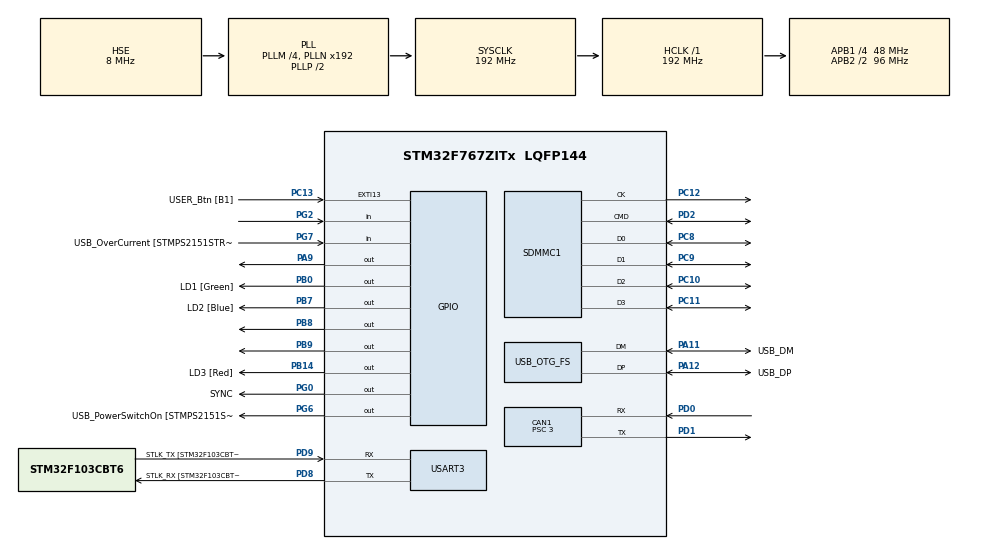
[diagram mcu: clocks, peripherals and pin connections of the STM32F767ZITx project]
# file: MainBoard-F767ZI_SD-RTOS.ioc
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CAN1.BS1=CAN_BS1_13TQ
CAN1.BS2=CAN_BS2_2TQ
CAN1.CalculateTimeQuantum=62.5
CAN1.Prescaler=3
CAN1.RFLM=ENABLE
CAN1.TTCM=DISABLE
Dma.Request0=SDMMC1_TX
Dma.Request1=SDMMC1_RX
Dma.SDMMC1_RX.1.Direction=DMA_PERIPH_TO_MEMORY
Dma.SDMMC1_RX.1.FIFOMode=DMA_FIFOMODE_ENABLE
Dma.SDMMC1_RX.1.FIFOThreshold=DMA_FIFO_THRESHOLD_FULL
Dma.SDMMC1_RX.1.Instance=DMA2_Stream6
Dma.SDMMC1_RX.1.MemBurst=DMA_MBURST_INC4
Dma.SDMMC1_RX.1.MemDataAlignment=DMA_MDATAALIGN_WORD
Dma.SDMMC1_RX.1.MemInc=DMA_MINC_ENABLE
Dma.SDMMC1_RX.1.Mode=DMA_PFCTRL
Dma.SDMMC1_RX.1.PeriphBurst=DMA_PBURST_INC4
Dma.SDMMC1_RX.1.PeriphDataAlignment=DMA_PDATAALIGN_WORD
Dma.SDMMC1_RX.1.PeriphInc=DMA_PINC_DISABLE
Dma.SDMMC1_RX.1.Priority=DMA_PRIORITY_LOW
Dma.SDMMC1_TX.0.Direction=DMA_MEMORY_TO_PERIPH
Dma.SDMMC1_TX.0.FIFOMode=DMA_FIFOMODE_ENABLE
Dma.SDMMC1_TX.0.FIFOThreshold=DMA_FIFO_THRESHOLD_FULL
Dma.SDMMC1_TX.0.Instance=DMA2_Stream3
Dma.SDMMC1_TX.0.MemBurst=DMA_MBURST_INC4
Dma.SDMMC1_TX.0.MemDataAlignment=DMA_MDATAALIGN_WORD
Dma.SDMMC1_TX.0.MemInc=DMA_MINC_ENABLE
Dma.SDMMC1_TX.0.Mode=DMA_PFCTRL
Dma.SDMMC1_TX.0.PeriphBurst=DMA_PBURST_INC4
Dma.SDMMC1_TX.0.PeriphDataAlignment=DMA_PDATAALIGN_WORD
Dma.SDMMC1_TX.0.PeriphInc=DMA_PINC_DISABLE
Dma.SDMMC1_TX.0.Priority=DMA_PRIORITY_LOW
FATFS.BSP.number=1
FATFS._FS_EXFAT=1
FATFS._FS_LOCK=10
FATFS._FS_NORTC=0
FATFS._MAX_SS=4096
FATFS._USE_LFN=3
FATFS0.BSP.STBoard=false
FATFS0.BSP.api=Unknown
FATFS0.BSP.i2caddr=0
FATFS0.BSP.instance=PG2
FATFS0.BSP.ip=GPIO
FATFS0.BSP.mode=Input
FATFS0.BSP.name=Detect_SDIO
FATFS0.BSP.solution=PG2
FREERTOS.Tasks01=defaultTask,24,256,StartDefaultTask,Default,NULL,Dynamic,NULL,NULL
Mcu.Family=STM32F7
Mcu.Name=STM32F767ZITx
Mcu.Package=LQFP144
NVIC.CAN1_RX0_IRQn=true\:6\:0\:true\:true\:true\:1\:true\:true\:true
NVIC.DMA2_Stream3_IRQn=true\:7\:0\:true\:false\:true\:true\:false\:true
NVIC.DMA2_Stream6_IRQn=true\:11\:0\:true\:false\:true\:true\:false\:true
NVIC.OTG_FS_IRQn=true\:9\:0\:true\:false\:true\:true\:true\:true
NVIC.PriorityGroup=NVIC_PRIORITYGROUP_4
NVIC.SDMMC1_IRQn=true\:8\:0\:true\:false\:true\:true\:true\:true
NVIC.TIM6_DAC_IRQn=true\:0\:0\:false\:false\:true\:false\:false\:true
NVIC.TIM8_TRG_COM_TIM14_IRQn=true\:5\:0\:false\:false\:true\:true\:true\:true
NVIC.TimeBase=TIM6_DAC_IRQn
NVIC.TimeBaseIP=TIM6
PA1.GPIO_Label=RMII_REF_CLK [LAN8742A-CZ-TR_REFCLK0]
PA1.Signal=ETH_REF_CLK
PA11.GPIO_Label=USB_DM
PA11.Mode=Device_Only
PA11.Signal=USB_OTG_FS_DM
PA12.GPIO_Label=USB_DP
PA12.Mode=Device_Only
PA12.Signal=USB_OTG_FS_DP
PA13.GPIO_Label=TMS
PA13.Mode=Serial_Wire
PA13.Signal=SYS_JTMS-SWDIO
PA14.GPIO_Label=TCK
PA14.Mode=Serial_Wire
PA14.Signal=SYS_JTCK-SWCLK
PA2.GPIO_Label=RMII_MDIO [LAN8742A-CZ-TR_MDIO]
PA2.Signal=ETH_MDIO
PA7.GPIO_Label=RMII_CRS_DV [LAN8742A-CZ-TR_CRS_DV]
PA7.Signal=ETH_CRS_DV
PA9.GPIO_ModeDefaultOutputPP=GPIO_MODE_OUTPUT_PP
PA9.GPIO_PuPd=GPIO_PULLDOWN
PA9.Signal=GPIO_Output
PB0.GPIO_Label=LD1 [Green]
PB0.Signal=GPIO_Output
PB13.GPIO_Label=RMII_TXD1 [LAN8742A-CZ-TR_TXD1]
PB13.Signal=ETH_TXD1
PB14.GPIO_Label=LD3 [Red]
PB14.Signal=GPIO_Output
PB3.GPIO_Label=SWO
PB3.Signal=SYS_JTDO-SWO
PB7.GPIO_Label=LD2 [Blue]
PB7.Signal=GPIO_Output
PB8.Signal=GPIO_Output
PB9.Signal=GPIO_Output
PC1.GPIO_Label=RMII_MDC [LAN8742A-CZ-TR_MDC]
PC1.Signal=ETH_MDC
PC10.Mode=SD_4_bits_Wide_bus
PC10.Signal=SDMMC1_D2
PC11.Mode=SD_4_bits_Wide_bus
PC11.Signal=SDMMC1_D3
PC12.Mode=SD_4_bits_Wide_bus
PC12.Signal=SDMMC1_CK
PC13.GPIO_Label=USER_Btn [B1]
PC13.Signal=GPXTI13
PC14/OSC32_IN.Mode=LSE-External-Oscillator
PC14/OSC32_IN.Signal=RCC_OSC32_IN
PC15/OSC32_OUT.Mode=LSE-External-Oscillator
PC15/OSC32_OUT.Signal=RCC_OSC32_OUT
PC4.GPIO_Label=RMII_RXD0 [LAN8742A-CZ-TR_RXD0]
PC4.Signal=ETH_RXD0
PC5.GPIO_Label=RMII_RXD1 [LAN8742A-CZ-TR_RXD1]
PC5.Signal=ETH_RXD1
PC8.GPIO_PuPd=GPIO_NOPULL
PC8.Mode=SD_4_bits_Wide_bus
PC8.Signal=SDMMC1_D0
PC9.Mode=SD_4_bits_Wide_bus
PC9.Signal=SDMMC1_D1
PD0.Mode=Master
PD0.Signal=CAN1_RX
PD1.Mode=Master
PD1.Signal=CAN1_TX
PD2.GPIO_PuPd=GPIO_NOPULL
PD2.Mode=SD_4_bits_Wide_bus
PD2.Signal=SDMMC1_CMD
PD8.GPIO_Label=STLK_RX [STM32F103CBT6_PA3]
PD8.Mode=Asynchronous
PD8.Signal=USART3_TX
PD9.GPIO_Label=STLK_TX [STM32F103CBT6_PA2]
PD9.Mode=Asynchronous
PD9.Signal=USART3_RX
PG0.GPIO_Label=SYNC
PG0.Signal=GPIO_Output
PG11.GPIO_Label=RMII_TX_EN [LAN8742A-CZ-TR_TXEN]
PG11.Signal=ETH_TX_EN
PG13.GPIO_Label=RMII_TXD0 [LAN8742A-CZ-TR_TXD0]
PG13.Signal=ETH_TXD0
PG2.GPIO_PuPd=GPIO_PULLDOWN
PG2.Signal=GPIO_Input
PG6.GPIO_Label=USB_PowerSwitchOn [STMPS2151STR_EN]
PG6.Signal=GPIO_Output
PG7.GPIO_Label=USB_OverCurrent [STMPS2151STR_FAULT]
PG7.Signal=GPIO_Input
PH0/OSC_IN.GPIO_Label=MCO [STM32F103CBT6_PA8]
PH0/OSC_IN.Mode=HSE-External-Clock-Source
PH0/OSC_IN.Signal=RCC_OSC_IN
PH1/OSC_OUT.Mode=HSE-External-Clock-Source
PH1/OSC_OUT.Signal=RCC_OSC_OUT
ProjectManager.HeapSize=0x2000
ProjectManager.StackSize=0x4000
ProjectManager.TargetToolchain=STM32CubeIDE
RCC.48MHZClocksFreq_Value=24000000
RCC.AHBFreq_Value=192000000
RCC.APB1CLKDivider=RCC_HCLK_DIV4
RCC.APB1Freq_Value=48000000
RCC.APB1TimFreq_Value=96000000
RCC.APB2CLKDivider=RCC_HCLK_DIV2
RCC.APB2Freq_Value=96000000
RCC.APB2TimFreq_Value=192000000
RCC.CortexFreq_Value=192000000
RCC.HCLKFreq_Value=192000000
RCC.HSE_VALUE=8000000
RCC.HSI_VALUE=16000000
RCC.PLLM=4
RCC.PLLMUL=RCC_PLL_MUL9
RCC.PLLQ=8
RCC.PRESCALERUSB=RCC_USBCLKSOURCE_PLL_DIV1_5
RCC.SDMMCClockSelection=RCC_SDMMC1CLKSOURCE_CLK48
RCC.SYSCLKFreq_VALUE=192000000
RCC.SYSCLKSource=RCC_SYSCLKSOURCE_PLLCLK
RCC.SYSCLKSourceVirtual=RCC_SYSCLKSOURCE_PLLCLK
RCC.USBFreq_Value=48000000
RCC.VCOOutputFreq_Value=384000000
SDMMC1.ClockBypass=SDMMC_CLOCK_BYPASS_DISABLE
SDMMC1.ClockDiv=4
TIM14.AutoReloadPreload=TIM_AUTORELOAD_PRELOAD_ENABLE
TIM14.Period=50
TIM14.Prescaler=19199
USART3.VirtualMode-Asynchronous=VM_ASYNC
USB_DEVICE.CLASS_NAME_FS=MSC
USB_DEVICE.VirtualMode-MSC_FS=Msc
USB_DEVICE.VirtualModeFS=Msc_FS
USB_OTG_FS.VirtualMode=Device_Only
VP_FATFS_VS_SDIO.Mode=SDIO
VP_FREERTOS_VS_CMSIS_V2.Mode=CMSIS_V2
VP_SYS_VS_tim6.Mode=TIM6
VP_TIM14_VS_ClockSourceINT.Mode=Enable_Timer
VP_USB_DEVICE_VS_USB_DEVICE_MSC_FS.Mode=MSC_FS
board=NUCLEO-F767ZI

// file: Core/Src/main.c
/* USER CODE BEGIN Header */
/**
  ******************************************************************************
  * @file           : main.c
  * @brief          : Main program body
  ******************************************************************************
  * @attention
  *
  * <h2><center>&copy; Copyright (c) 2020 STMicroelectronics.
  * All rights reserved.</center></h2>
  *
  * This software component is licensed by ST under BSD 3-Clause license,
  * the "License"; You may not use this file except in compliance with the
  * License. You may obtain a copy of the License at:
  *                        opensource.org/licenses/BSD-3-Clause
  *
  ******************************************************************************
  */
/* USER CODE END Header */

#include "main.h"
#include "cmsis_os.h"
#include "fatfs.h"
#include "usb_device.h"

/* USER CODE BEGIN PTD */

// Data organization 128bit
typedef struct{
	uint8_t		Header_H;
	uint8_t		Header_M;
	uint8_t		Header_L;
	uint8_t		AccX_H;
	uint8_t		AccX_L;
	uint8_t		AccY_H;
	uint8_t		AccY_L;
	uint8_t		AccZ_H;
	uint8_t		AccZ_L;
	uint8_t		GyrX_H;
	uint8_t		GyrX_L;
	uint8_t		GyrY_H;
	uint8_t		GyrY_L;
	uint8_t		Temp_H;
	uint8_t		Temp_L;
	uint8_t		Hum;
}buffer_typedef;
/* USER CODE END PTD */

/* USER CODE BEGIN PD */
#define	N 				32 // Number of 128bit data packet
/* USER CODE END PD */

/* USER CODE BEGIN PM */
struct{
	uint8_t		ID;
	uint8_t 	Time[3];
	uint8_t		Error;
	int16_t		Acc_x;
	int16_t 	Acc_y;
	int16_t 	Acc_z;
	int16_t 	Gyr_x;
	int16_t 	Gyr_y;
	int16_t 	Temp;
	uint32_t 	Pres;
	uint16_t 	Hum;
}Dati;
/* USER CODE END PM */

CAN_HandleTypeDef hcan1;

SD_HandleTypeDef hsd1;
DMA_HandleTypeDef hdma_sdmmc1_tx;
DMA_HandleTypeDef hdma_sdmmc1_rx;

TIM_HandleTypeDef htim14;

UART_HandleTypeDef huart3;

/* Definitions for defaultTask */
osThreadId_t defaultTaskHandle;
const osThreadAttr_t defaultTask_attributes = {
  .name = "defaultTask",
  .priority = (osPriority_t) osPriorityNormal,
  .stack_size = 256 * 4
};
/* USER CODE BEGIN PV */
// CAN Variables
CAN_RxHeaderTypeDef 	RxHeader;
CAN_TxHeaderTypeDef 	TxHeader;
uint8_t					RxData[8];
uint8_t 				TxData[8];
uint32_t				TxMailbox;
CAN_FilterTypeDef 		sFilterConfig;

// SD Card Variables
extern FIL 				SDFile;
extern char 			SDPath[4];
FATFS 					SDFatFs;
HAL_SD_CardInfoTypeDef 	CardInfo;
uint8_t 				workBuffer[_MAX_SS];
char 					path[] = "DATA_LOG.BIN";
FRESULT 				res;
UINT 					writeBuff;

//USB
extern USBD_HandleTypeDef hUsbDeviceFS;
//extern USBD_StorageTypeDef USBD_Storage_Interface_fops_FS;
extern USBD_ClassTypeDef  USBD_MSC;
extern USBD_DescriptorsTypeDef FS_Desc;
HAL_SD_CardInfoTypeDef SDCardInfo;
// Data Variables
buffer_typedef 			buffer[32];		// Received data buffer
buffer_typedef 			SD_buffer[32];	// Writing buffer
uint8_t 				ind = 0;		// Data index
uint8_t 				flag = 0;
uint8_t					wf = 0;			// Write flag
/* USER CODE END PV */

void SystemClock_Config(void);
static void MX_GPIO_Init(void);
static void MX_DMA_Init(void);
static void MX_USART3_UART_Init(void);
static void MX_CAN1_Init(void);
static void MX_SDMMC1_SD_Init(void);
static void MX_TIM14_Init(void);
void StartDefaultTask(void *argument);

static void MX_NVIC_Init(void);
/* USER CODE BEGIN PFP */
void CAN_Config(void);
void Get_Data(void);
/* USER CODE END PFP */

int main(void)
{

  /* MCU Configuration--------------------------------------------------------*/

  /* Reset of all peripherals, Initializes the Flash interface and the Systick. */
  HAL_Init();

  /* Configure the system clock */
  SystemClock_Config();

  /* Initialize all configured peripherals */
  MX_GPIO_Init();
  MX_DMA_Init();
  MX_USART3_UART_Init();
  MX_CAN1_Init();
  MX_SDMMC1_SD_Init();
  MX_FATFS_Init();
  MX_TIM14_Init();

  /* Initialize interrupts */
  MX_NVIC_Init();
  /* USER CODE BEGIN 2 */
  //NVIC_DisableIRQ(OTG_FS_IRQn);
  //USBD_Stop(&hUsbDeviceFS);
  // SD Card Initialization
  /*res = f_mount(&SDFatFs, SDPath, 1);
  res = f_open(&SDFile, &path[0], FA_CREATE_ALWAYS);
  res = f_close(&SDFile);
  res = f_open(&SDFile, &path[0], FA_OPEN_APPEND | FA_WRITE);*/
  //USB start
  //MX_USB_DEVICE_Init();
  // CAN Initialization
  CAN_Config();
  HAL_CAN_Start(&hcan1);
  //HAL_CAN_ActivateNotification(&hcan1, CAN_IT_RX_FIFO0_MSG_PENDING);

  // TIMER Initialization
  //HAL_TIM_Base_Start_IT(&htim13);
  HAL_TIM_Base_Start_IT(&htim14);
  /* USER CODE END 2 */

  /* Init scheduler */
  osKernelInitialize();

  /* Create the thread(s) */
  /* creation of defaultTask */
  defaultTaskHandle = osThreadNew(StartDefaultTask, NULL, &defaultTask_attributes);

  /* Start scheduler */
  osKernelStart();

  /* We should never get here as control is now taken by the scheduler */
  /* Infinite loop */
  while (1)
  {

  }
}

void SystemClock_Config(void)
{
  RCC_OscInitTypeDef RCC_OscInitStruct = {0};
  RCC_ClkInitTypeDef RCC_ClkInitStruct = {0};
  RCC_PeriphCLKInitTypeDef PeriphClkInitStruct = {0};

  /** Configure LSE Drive Capability
  */
  HAL_PWR_EnableBkUpAccess();
  /** Configure the main internal regulator output voltage
  */
  __HAL_RCC_PWR_CLK_ENABLE();
  __HAL_PWR_VOLTAGESCALING_CONFIG(PWR_REGULATOR_VOLTAGE_SCALE1);
  /** Initializes the CPU, AHB and APB busses clocks
  */
  RCC_OscInitStruct.OscillatorType = RCC_OSCILLATORTYPE_HSE;
  RCC_OscInitStruct.HSEState = RCC_HSE_BYPASS;
  RCC_OscInitStruct.PLL.PLLState = RCC_PLL_ON;
  RCC_OscInitStruct.PLL.PLLSource = RCC_PLLSOURCE_HSE;
  RCC_OscInitStruct.PLL.PLLM = 4;
  RCC_OscInitStruct.PLL.PLLN = 192;
  RCC_OscInitStruct.PLL.PLLP = RCC_PLLP_DIV2;
  RCC_OscInitStruct.PLL.PLLQ = 8;
  if (HAL_RCC_OscConfig(&RCC_OscInitStruct) != HAL_OK)
  {
    Error_Handler();
  }
  /** Activate the Over-Drive mode
  */
  if (HAL_PWREx_EnableOverDrive() != HAL_OK)
  {
    Error_Handler();
  }
  /** Initializes the CPU, AHB and APB busses clocks
  */
  RCC_ClkInitStruct.ClockType = RCC_CLOCKTYPE_HCLK|RCC_CLOCKTYPE_SYSCLK
                              |RCC_CLOCKTYPE_PCLK1|RCC_CLOCKTYPE_PCLK2;
  RCC_ClkInitStruct.SYSCLKSource = RCC_SYSCLKSOURCE_PLLCLK;
  RCC_ClkInitStruct.AHBCLKDivider = RCC_SYSCLK_DIV1;
  RCC_ClkInitStruct.APB1CLKDivider = RCC_HCLK_DIV4;
  RCC_ClkInitStruct.APB2CLKDivider = RCC_HCLK_DIV2;

  if (HAL_RCC_ClockConfig(&RCC_ClkInitStruct, FLASH_LATENCY_6) != HAL_OK)
  {
    Error_Handler();
  }
  PeriphClkInitStruct.PeriphClockSelection = RCC_PERIPHCLK_USART3|RCC_PERIPHCLK_SDMMC1
                              |RCC_PERIPHCLK_CLK48;
  PeriphClkInitStruct.Usart3ClockSelection = RCC_USART3CLKSOURCE_PCLK1;
  PeriphClkInitStruct.Clk48ClockSelection = RCC_CLK48SOURCE_PLL;
  PeriphClkInitStruct.Sdmmc1ClockSelection = RCC_SDMMC1CLKSOURCE_CLK48;
  if (HAL_RCCEx_PeriphCLKConfig(&PeriphClkInitStruct) != HAL_OK)
  {
    Error_Handler();
  }
}

/**
  * @brief NVIC Configuration.
  * @retval None
  */
static void MX_NVIC_Init(void)
{
  /* CAN1_RX0_IRQn interrupt configuration */
  HAL_NVIC_SetPriority(CAN1_RX0_IRQn, 6, 0);
  HAL_NVIC_EnableIRQ(CAN1_RX0_IRQn);
}

static void MX_CAN1_Init(void)
{

  hcan1.Instance = CAN1;
  hcan1.Init.Prescaler = 3;
  hcan1.Init.Mode = CAN_MODE_NORMAL;
  hcan1.Init.SyncJumpWidth = CAN_SJW_1TQ;
  hcan1.Init.TimeSeg1 = CAN_BS1_13TQ;
  hcan1.Init.TimeSeg2 = CAN_BS2_2TQ;
  hcan1.Init.TimeTriggeredMode = DISABLE;
  hcan1.Init.AutoBusOff = DISABLE;
  hcan1.Init.AutoWakeUp = DISABLE;
  hcan1.Init.AutoRetransmission = DISABLE;
  hcan1.Init.ReceiveFifoLocked = ENABLE;
  hcan1.Init.TransmitFifoPriority = DISABLE;
  if (HAL_CAN_Init(&hcan1) != HAL_OK)
  {
    Error_Handler();
  }

}

static void MX_SDMMC1_SD_Init(void)
{

  hsd1.Instance = SDMMC1;
  hsd1.Init.ClockEdge = SDMMC_CLOCK_EDGE_RISING;
  hsd1.Init.ClockBypass = SDMMC_CLOCK_BYPASS_DISABLE;
  hsd1.Init.ClockPowerSave = SDMMC_CLOCK_POWER_SAVE_DISABLE;
  hsd1.Init.BusWide = SDMMC_BUS_WIDE_1B;
  hsd1.Init.HardwareFlowControl = SDMMC_HARDWARE_FLOW_CONTROL_DISABLE;
  hsd1.Init.ClockDiv = 4;
  /* USER CODE BEGIN SDMMC1_Init 2 */
  // Is Redundant
  if (HAL_SD_Init(&hsd1) != HAL_OK)
  {
	  Error_Handler();
  }
  /* USER CODE END SDMMC1_Init 2 */

}

static void MX_TIM14_Init(void)
{

  htim14.Instance = TIM14;
  htim14.Init.Prescaler = 19199;
  htim14.Init.CounterMode = TIM_COUNTERMODE_UP;
  htim14.Init.Period = 50;
  htim14.Init.ClockDivision = TIM_CLOCKDIVISION_DIV1;
  htim14.Init.AutoReloadPreload = TIM_AUTORELOAD_PRELOAD_ENABLE;
  if (HAL_TIM_Base_Init(&htim14) != HAL_OK)
  {
    Error_Handler();
  }

}

static void MX_USART3_UART_Init(void)
{

  huart3.Instance = USART3;
  huart3.Init.BaudRate = 115200;
  huart3.Init.WordLength = UART_WORDLENGTH_8B;
  huart3.Init.StopBits = UART_STOPBITS_1;
  huart3.Init.Parity = UART_PARITY_NONE;
  huart3.Init.Mode = UART_MODE_TX_RX;
  huart3.Init.HwFlowCtl = UART_HWCONTROL_NONE;
  huart3.Init.OverSampling = UART_OVERSAMPLING_16;
  huart3.Init.OneBitSampling = UART_ONE_BIT_SAMPLE_DISABLE;
  huart3.AdvancedInit.AdvFeatureInit = UART_ADVFEATURE_NO_INIT;
  if (HAL_UART_Init(&huart3) != HAL_OK)
  {
    Error_Handler();
  }

}

static void MX_DMA_Init(void)
{

  /* DMA controller clock enable */
  __HAL_RCC_DMA2_CLK_ENABLE();

  /* DMA interrupt init */
  /* DMA2_Stream3_IRQn interrupt configuration */
  HAL_NVIC_SetPriority(DMA2_Stream3_IRQn, 7, 0);
  HAL_NVIC_EnableIRQ(DMA2_Stream3_IRQn);
  /* DMA2_Stream6_IRQn interrupt configuration */
  HAL_NVIC_SetPriority(DMA2_Stream6_IRQn, 11, 0);
  HAL_NVIC_EnableIRQ(DMA2_Stream6_IRQn);

}

static void MX_GPIO_Init(void)
{
  GPIO_InitTypeDef GPIO_InitStruct = {0};

  /* GPIO Ports Clock Enable */
  __HAL_RCC_GPIOC_CLK_ENABLE();
  __HAL_RCC_GPIOH_CLK_ENABLE();
  __HAL_RCC_GPIOA_CLK_ENABLE();
  __HAL_RCC_GPIOB_CLK_ENABLE();
  __HAL_RCC_GPIOG_CLK_ENABLE();
  __HAL_RCC_GPIOD_CLK_ENABLE();

  /*Configure GPIO pin Output Level */
  HAL_GPIO_WritePin(GPIOB, LD1_Pin|LD3_Pin|LD2_Pin|GPIO_PIN_8
                          |GPIO_PIN_9, GPIO_PIN_RESET);

  /*Configure GPIO pin Output Level */
  HAL_GPIO_WritePin(GPIOG, SYNC_Pin|USB_PowerSwitchOn_Pin, GPIO_PIN_RESET);

  /*Configure GPIO pin Output Level */
  HAL_GPIO_WritePin(GPIOA, GPIO_PIN_9, GPIO_PIN_RESET);

  /*Configure GPIO pin : USER_Btn_Pin */
  GPIO_InitStruct.Pin = USER_Btn_Pin;
  GPIO_InitStruct.Mode = GPIO_MODE_IT_RISING;
  GPIO_InitStruct.Pull = GPIO_NOPULL;
  HAL_GPIO_Init(USER_Btn_GPIO_Port, &GPIO_InitStruct);

  /*Configure GPIO pins : RMII_MDC_Pin RMII_RXD0_Pin RMII_RXD1_Pin */
  GPIO_InitStruct.Pin = RMII_MDC_Pin|RMII_RXD0_Pin|RMII_RXD1_Pin;
  GPIO_InitStruct.Mode = GPIO_MODE_AF_PP;
  GPIO_InitStruct.Pull = GPIO_NOPULL;
  GPIO_InitStruct.Speed = GPIO_SPEED_FREQ_VERY_HIGH;
  GPIO_InitStruct.Alternate = GPIO_AF11_ETH;
  HAL_GPIO_Init(GPIOC, &GPIO_InitStruct);

  /*Configure GPIO pins : RMII_REF_CLK_Pin RMII_MDIO_Pin RMII_CRS_DV_Pin */
  GPIO_InitStruct.Pin = RMII_REF_CLK_Pin|RMII_MDIO_Pin|RMII_CRS_DV_Pin;
  GPIO_InitStruct.Mode = GPIO_MODE_AF_PP;
  GPIO_InitStruct.Pull = GPIO_NOPULL;
  GPIO_InitStruct.Speed = GPIO_SPEED_FREQ_VERY_HIGH;
  GPIO_InitStruct.Alternate = GPIO_AF11_ETH;
  HAL_GPIO_Init(GPIOA, &GPIO_InitStruct);

  /*Configure GPIO pins : LD1_Pin LD3_Pin LD2_Pin PB8
                           PB9 */
  GPIO_InitStruct.Pin = LD1_Pin|LD3_Pin|LD2_Pin|GPIO_PIN_8
                          |GPIO_PIN_9;
  GPIO_InitStruct.Mode = GPIO_MODE_OUTPUT_PP;
  GPIO_InitStruct.Pull = GPIO_NOPULL;
  GPIO_InitStruct.Speed = GPIO_SPEED_FREQ_LOW;
  HAL_GPIO_Init(GPIOB, &GPIO_InitStruct);

  /*Configure GPIO pins : SYNC_Pin USB_PowerSwitchOn_Pin */
  GPIO_InitStruct.Pin = SYNC_Pin|USB_PowerSwitchOn_Pin;
  GPIO_InitStruct.Mode = GPIO_MODE_OUTPUT_PP;
  GPIO_InitStruct.Pull = GPIO_NOPULL;
  GPIO_InitStruct.Speed = GPIO_SPEED_FREQ_LOW;
  HAL_GPIO_Init(GPIOG, &GPIO_InitStruct);

  /*Configure GPIO pin : RMII_TXD1_Pin */
  GPIO_InitStruct.Pin = RMII_TXD1_Pin;
  GPIO_InitStruct.Mode = GPIO_MODE_AF_PP;
  GPIO_InitStruct.Pull = GPIO_NOPULL;
  GPIO_InitStruct.Speed = GPIO_SPEED_FREQ_VERY_HIGH;
  GPIO_InitStruct.Alternate = GPIO_AF11_ETH;
  HAL_GPIO_Init(RMII_TXD1_GPIO_Port, &GPIO_InitStruct);

  /*Configure GPIO pin : PG2 */
  GPIO_InitStruct.Pin = GPIO_PIN_2;
  GPIO_InitStruct.Mode = GPIO_MODE_INPUT;
  GPIO_InitStruct.Pull = GPIO_PULLDOWN;
  HAL_GPIO_Init(GPIOG, &GPIO_InitStruct);

  /*Configure GPIO pin : USB_OverCurrent_Pin */
  GPIO_InitStruct.Pin = USB_OverCurrent_Pin;
  GPIO_InitStruct.Mode = GPIO_MODE_INPUT;
  GPIO_InitStruct.Pull = GPIO_NOPULL;
  HAL_GPIO_Init(USB_OverCurrent_GPIO_Port, &GPIO_InitStruct);

  /*Configure GPIO pin : PA9 */
  GPIO_InitStruct.Pin = GPIO_PIN_9;
  GPIO_InitStruct.Mode = GPIO_MODE_OUTPUT_PP;
  GPIO_InitStruct.Pull = GPIO_PULLDOWN;
  GPIO_InitStruct.Speed = GPIO_SPEED_FREQ_LOW;
  HAL_GPIO_Init(GPIOA, &GPIO_InitStruct);

  /*Configure GPIO pins : RMII_TX_EN_Pin RMII_TXD0_Pin */
  GPIO_InitStruct.Pin = RMII_TX_EN_Pin|RMII_TXD0_Pin;
  GPIO_InitStruct.Mode = GPIO_MODE_AF_PP;
  GPIO_InitStruct.Pull = GPIO_NOPULL;
  GPIO_InitStruct.Speed = GPIO_SPEED_FREQ_VERY_HIGH;
  GPIO_InitStruct.Alternate = GPIO_AF11_ETH;
  HAL_GPIO_Init(GPIOG, &GPIO_InitStruct);

}

/* USER CODE BEGIN 4 */
void HAL_CAN_RxFifo0MsgPendingCallback(CAN_HandleTypeDef *hcan){
	HAL_GPIO_WritePin(GPIOB, GPIO_PIN_9, GPIO_PIN_SET);
	HAL_GPIO_WritePin(GPIOB, LD2_Pin, GPIO_PIN_SET);
	if(HAL_CAN_GetRxMessage(&hcan1,CAN_RX_FIFO0,&RxHeader,RxData) == HAL_OK){
		Get_Data();
	}
	// Test if the buffer is full
	if(ind >= 32){
		// Move the acquired data to the writing buffer
		for(uint8_t i=0;i<32;i++){
			SD_buffer[i] = buffer[i];
			wf = 1;
		}
		ind = 0;
		// Stop the data request to write the buffer to the memory
		//HAL_TIM_Base_Stop_IT(&htim14);
		//HAL_CAN_DeactivateNotification(&hcan1, CAN_IT_RX_FIFO0_MSG_PENDING);
	}
	HAL_GPIO_WritePin(GPIOB, GPIO_PIN_9, GPIO_PIN_RESET);
	HAL_GPIO_WritePin(GPIOB, LD2_Pin, GPIO_PIN_RESET);
}

void Get_Data(){
	/*
	 * ID definition
	 *    ---- If 1 third packet is received
	 *   |  -- If 1 second packet is received
	 *   | |       ID
	 *   | | _______________
	 * -|-|-|x|x|x|x|x|x|x|x|
	 *   9 8 7 6 5 4 3 2 1 0
	 */
	if((RxHeader.StdId>>8) == 0x00){
		buffer[ind].Header_H = ((uint8_t)RxHeader.StdId & 0x1F)<<1;
		buffer[ind].Header_L = RxData[0];
		buffer[ind].Header_M = RxData[1];
		buffer[ind].Header_H |= (RxData[2] & 0x01);
		buffer[ind].GyrX_L = RxData[3];
		buffer[ind].GyrX_H = RxData[4];
		buffer[ind].GyrX_L = RxData[5];
		buffer[ind].GyrY_H = RxData[6];
	}
	else if((RxHeader.StdId>>8) == 0x01){
		buffer[ind].Header_H = ((uint8_t)RxHeader.StdId & 0x1F)<<1;
		buffer[ind].AccX_L = RxData[0];
		buffer[ind].AccX_H = RxData[1];
		buffer[ind].AccY_L = RxData[2];
		buffer[ind].AccY_H = RxData[3];
		buffer[ind].AccZ_L = RxData[4];
		buffer[ind].AccZ_H = RxData[5];
		buffer[ind].Temp_L = RxData[6];
		buffer[ind].Temp_H = RxData[7];
		ind++;
	}
}

void CAN_Config(void){
	TxHeader.StdId = 0x01;
	TxHeader.ExtId = 0x01;
	TxHeader.RTR = CAN_RTR_DATA;
	TxHeader.IDE = CAN_ID_EXT;
	TxHeader.DLC = 8;
	TxHeader.TransmitGlobalTime = DISABLE;
	sFilterConfig.FilterFIFOAssignment = CAN_FILTER_FIFO0;
	sFilterConfig.FilterIdHigh = 0x0;
	sFilterConfig.FilterIdLow = 0;
	sFilterConfig.FilterMaskIdHigh = 0x0;
	sFilterConfig.FilterMaskIdLow = 0;
	sFilterConfig.FilterScale = CAN_FILTERSCALE_32BIT;
	sFilterConfig.FilterActivation = CAN_FILTER_ENABLE;
	HAL_CAN_ConfigFilter(&hcan1,&sFilterConfig);
}
/* USER CODE END 4 */

void StartDefaultTask(void *argument)
{
  /* init code for USB_DEVICE */
  MX_USB_DEVICE_Init();
  /* USER CODE BEGIN 5 */
	// Mount filesystem only one time
	if(flag == 0){

		res = f_mount(&SDFatFs, SDPath, 1);
		res = f_open(&SDFile, &path[0], FA_CREATE_ALWAYS);
		res = f_close(&SDFile);
		res = f_open(&SDFile, &path[0], FA_OPEN_APPEND | FA_WRITE);
		flag = 1;

		// Start 5mS timer to trigger the data request
		HAL_CAN_ActivateNotification(&hcan1, CAN_IT_RX_FIFO0_MSG_PENDING);
		//HAL_TIM_Base_Start_IT(&htim14);
	}
  /* Infinite loop */
  for(;;)
  {
	if(HAL_GPIO_ReadPin(USER_Btn_GPIO_Port, USER_Btn_Pin) == GPIO_PIN_SET){
		HAL_CAN_DeactivateNotification(&hcan1, CAN_IT_RX_FIFO0_MSG_PENDING);
		//HAL_TIM_Base_Stop_IT(&htim14);
		res = f_close(&SDFile);
		res = f_mount(NULL, SDPath, 1);
		//NVIC_DisableIRQ(OTG_FS_IRQn);

		osDelay(10);
		MX_USB_DEVICE_Init();
		NVIC_EnableIRQ(OTG_FS_IRQn);

		//vPortEndScheduler();
		//NVIC_EnableIRQ(OTG_FS_IRQn);
		HAL_GPIO_WritePin(GPIOB, LD2_Pin, GPIO_PIN_SET);
	}
	else{
		// Test if the data is ready to be written
		if(wf != 0){
			HAL_GPIO_WritePin(GPIOB, GPIO_PIN_8, GPIO_PIN_SET);
			HAL_GPIO_WritePin(GPIOB, LD1_Pin, GPIO_PIN_SET);
			// Write the buffer to the memory
			res = f_write(&SDFile, SD_buffer, sizeof(SD_buffer), &writeBuff);
			wf = 0;
			HAL_GPIO_WritePin(GPIOB, GPIO_PIN_8, GPIO_PIN_RESET);
			HAL_GPIO_WritePin(GPIOB, LD1_Pin, GPIO_PIN_RESET);
		}
	}
    //osDelay(1);
  }
  /* USER CODE END 5 */
}

 /**
  * @brief  Period elapsed callback in non blocking mode
  * @note   This function is called  when TIM6 interrupt took place, inside
  * HAL_TIM_IRQHandler(). It makes a direct call to HAL_IncTick() to increment
  * a global variable "uwTick" used as application time base.
  * @param  htim : TIM handle
  * @retval None
  */
void HAL_TIM_PeriodElapsedCallback(TIM_HandleTypeDef *htim)
{
  if (htim->Instance == TIM6) {
    HAL_IncTick();
  }
  /* USER CODE BEGIN Callback 1 */
  if (htim->Instance == TIM14) {
	  // Send a Data request
	  TxData[0] = 0x01;

	  	  HAL_GPIO_WritePin(GPIOG,SYNC_Pin,GPIO_PIN_SET);
	  	  HAL_Delay(1);
	  	  HAL_GPIO_WritePin(GPIOG,SYNC_Pin,GPIO_PIN_RESET);
		  HAL_CAN_ActivateNotification(&hcan1, CAN_IT_RX_FIFO0_MSG_PENDING);
	  }

  /* USER CODE END Callback 1 */
}

void Error_Handler(void)
{
  /* USER CODE BEGIN Error_Handler_Debug */
  /* User can add his own implementation to report the HAL error return state */
	while(1){
		HAL_GPIO_TogglePin(GPIOB, LD3_Pin);
		HAL_Delay(100);
	}
  /* USER CODE END Error_Handler_Debug */
}

/************************ (C) COPYRIGHT STMicroelectronics *****END OF FILE****/
